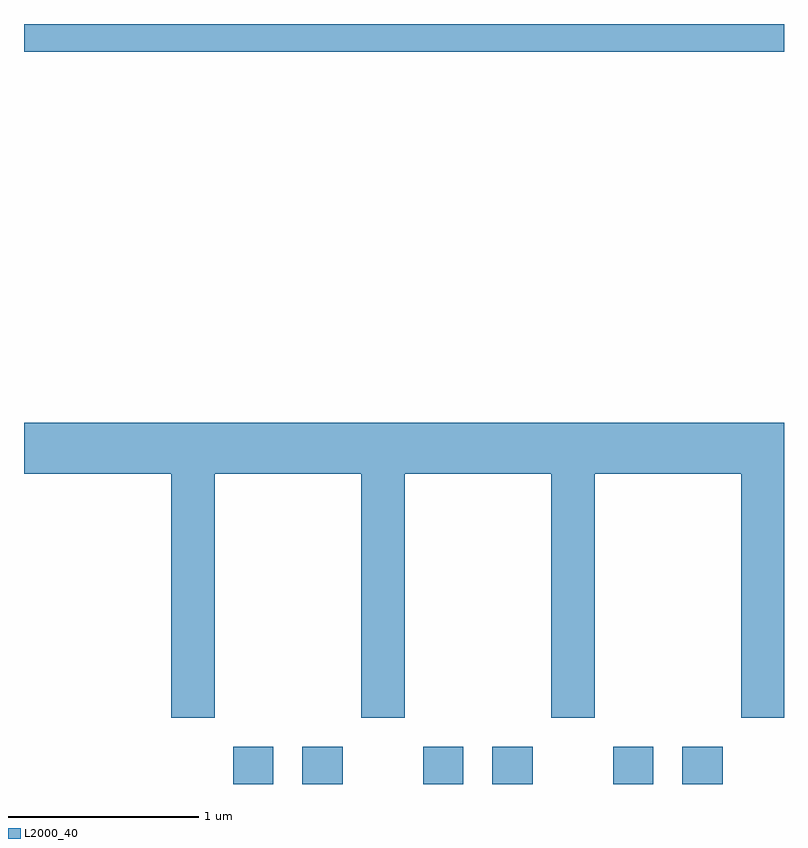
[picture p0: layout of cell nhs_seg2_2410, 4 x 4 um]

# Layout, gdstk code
import gdstk
lib = gdstk.Library(unit=1e-6, precision=1e-09)
def R(c, l, rs):  # rectangles x0, y0, x1, y1
    for r in rs: c.add(gdstk.rectangle(r[:2], r[2:], *l))
def P(c, l, *ps):  # polygons
    for p in ps: c.add(gdstk.Polygon(p, *l))
L2000_40 = (2000, 40)

nhs_seg2_2410 = lib.new_cell('nhs_seg2_2410')
R(nhs_seg2_2410, L2000_40, [(256.711,1037.802,256.924,1037.999), (257.076,1037.802,257.289,1037.999), (257.711,1037.802,257.924,1037.999), (258.076,1037.802,258.289,1037.999), (258.711,1037.802,258.924,1037.999), (259.076,1037.802,259.289,1037.999), (255.611,1041.656,259.611,1041.802)])
P(nhs_seg2_2410, L2000_40, [(256.614,1039.436),(257.386,1039.436),(257.386,1038.151),(257.614,1038.151),(257.614,1039.436),(258.386,1039.436),(258.386,1038.151),(258.614,1038.151),(258.614,1039.436),(259.386,1039.436),(259.386,1038.151),(259.611,1038.151),(259.611,1039.704),(255.611,1039.704),(255.611,1039.436),(256.386,1039.436),(256.386,1038.151),(256.614,1038.151)])

lib.write_gds('nhs_seg2_2410.gds')
